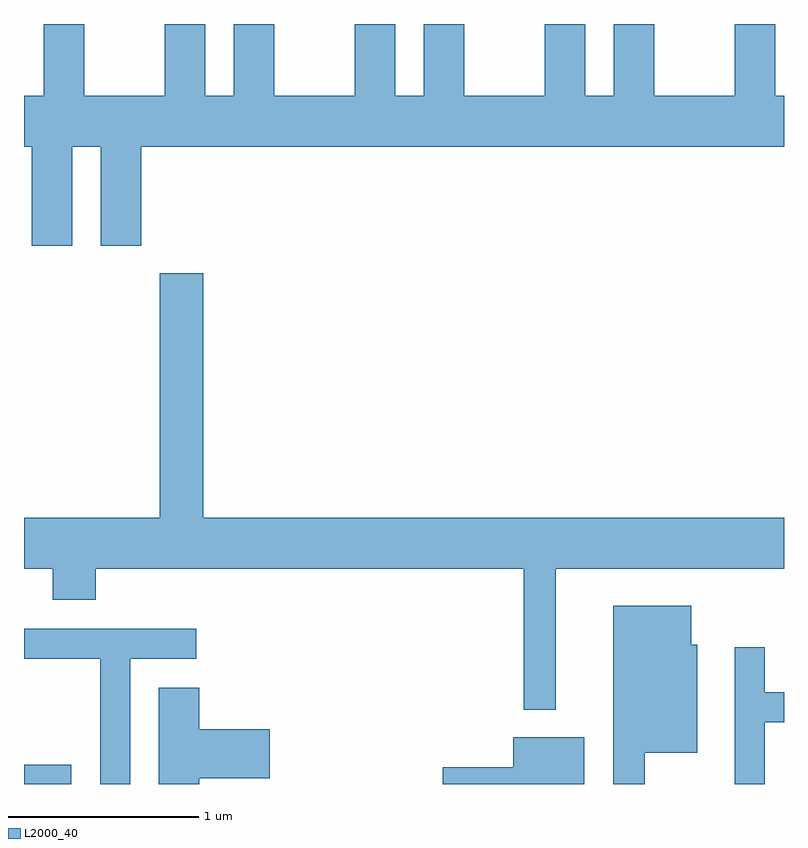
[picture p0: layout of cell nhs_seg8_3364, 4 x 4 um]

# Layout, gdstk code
import gdstk
lib = gdstk.Library(unit=1e-6, precision=1e-09)
def R(c, l, rs):  # rectangles x0, y0, x1, y1
    for r in rs: c.add(gdstk.rectangle(r[:2], r[2:], *l))
def P(c, l, *ps):  # polygons
    for p in ps: c.add(gdstk.Polygon(p, *l))
L2000_40 = (2000, 40)

nhs_seg8_3364 = lib.new_cell('nhs_seg8_3364')
R(nhs_seg8_3364, L2000_40, [(285.611,1886.342,285.859,1886.444)])
P(nhs_seg8_3364, L2000_40, [(289.611,1889.964),(289.564,1889.964),(289.564,1890.342),(289.351,1890.342),(289.351,1889.964),(288.929,1889.964),(288.929,1890.342),(288.716,1890.342),(288.716,1889.964),(288.564,1889.964),(288.564,1890.342),(288.351,1890.342),(288.351,1889.964),(287.929,1889.964),(287.929,1890.342),(287.716,1890.342),(287.716,1889.964),(287.564,1889.964),(287.564,1890.342),(287.351,1890.342),(287.351,1889.964),(286.929,1889.964),(286.929,1890.342),(286.716,1890.342),(286.716,1889.964),(286.564,1889.964),(286.564,1890.342),(286.351,1890.342),(286.351,1889.964),(285.929,1889.964),(285.929,1890.342),(285.716,1890.342),(285.716,1889.964),(285.611,1889.964),(285.611,1889.696),(285.651,1889.696),(285.651,1889.176),(285.864,1889.176),(285.864,1889.696),(286.016,1889.696),(286.016,1889.176),(286.229,1889.176),(286.229,1889.696),(289.611,1889.696)],
  [(288.409,1887.476),(289.611,1887.476),(289.611,1887.744),(286.554,1887.744),(286.554,1889.029),(286.326,1889.029),(286.326,1887.744),(285.611,1887.744),(285.611,1887.476),(285.761,1887.476),(285.761,1887.311),(285.989,1887.311),(285.989,1887.476),(288.241,1887.476),(288.241,1886.733),(288.409,1886.733)],
  [(288.879,1886.506),(289.154,1886.506),(289.154,1887.074),(289.124,1887.074),(289.124,1887.279),(288.711,1887.279),(288.711,1886.342),(288.879,1886.342)],
  [(286.169,1887.001),(286.518,1887.001),(286.518,1887.159),(285.611,1887.159),(285.611,1887.001),(286.011,1887.001),(286.011,1886.342),(286.169,1886.342)],
  [(289.509,1886.666),(289.611,1886.666),(289.611,1886.824),(289.509,1886.824),(289.509,1887.063),(289.351,1887.063),(289.351,1886.342),(289.509,1886.342)],
  [(286.534,1886.371),(286.904,1886.371),(286.904,1886.629),(286.534,1886.629),(286.534,1886.849),(286.321,1886.849),(286.321,1886.342),(286.534,1886.342)],
  [(288.559,1886.589),(288.186,1886.589),(288.186,1886.429),(287.816,1886.429),(287.816,1886.342),(288.559,1886.342)])

lib.write_gds('nhs_seg8_3364.gds')
